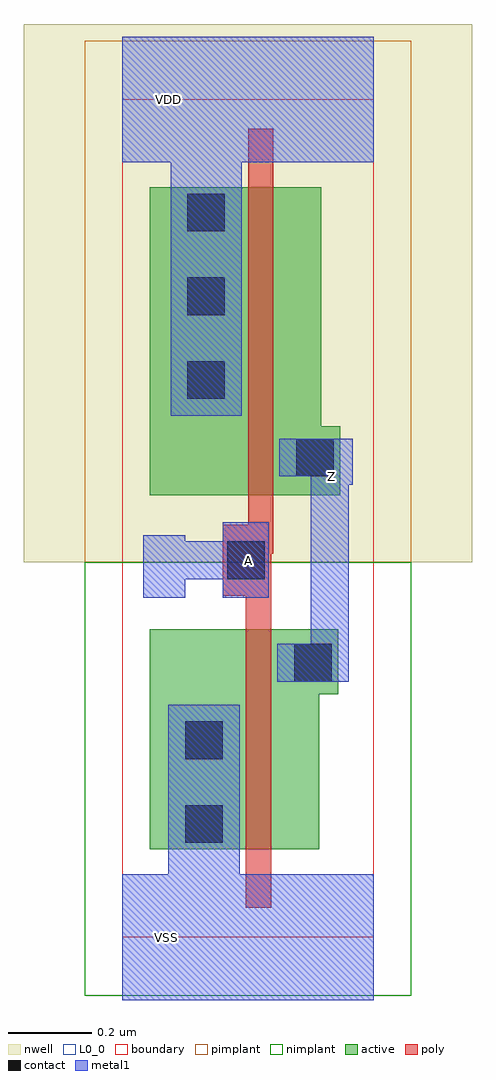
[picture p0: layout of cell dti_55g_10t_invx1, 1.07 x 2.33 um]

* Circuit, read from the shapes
.subckt dti_55g_10t_invx1 A VDD VSS Z
M1 Z A VSS VSUBS nfet w=0.525u l=0.06u
M2 Z A VDD n1 pfet w=0.735u l=0.06u
.ends

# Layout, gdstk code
from math import pi, radians
import gdstk
lib = gdstk.Library(unit=1e-6, precision=1e-09)
def R(c, l, rs):  # rectangles x0, y0, x1, y1
    for r in rs: c.add(gdstk.rectangle(r[:2], r[2:], *l))
def P(c, l, *ps):  # polygons
    for p in ps: c.add(gdstk.Polygon(p, *l))
L0_0 = (0, 0)
nwell = (3, 0)
active = (6, 0)
poly = (17, 0)
pimplant = (25, 0)
nimplant = (26, 0)
contact = (30, 0)
metal1 = (31, 0)
boundary = (108, 0)
L923_0 = (923, 0)

cnt = lib.new_cell('cnt')
R(cnt, contact, [(-0.045,-0.045,0.045,0.045)])
R(cnt, metal1, [(-0.045,-0.045,0.045,0.045)])

cnt_p = lib.new_cell('cnt_p')
R(cnt_p, active, [(-0.06,-0.075,0.06,0.075)])
cnt_p.add(gdstk.Reference(cnt, (0,0)))

cellgrid_nom2 = lib.new_cell('cellgrid_noM2')
R(cellgrid_nom2, L0_0, [(0,0,0.2,0.2)])
cellgrid_nom2.add(gdstk.FlexPath([(0.2,0),(0,0.2)], 0, ends="flush", simple_path=True, layer=0, datatype=0))  # L0_0
cellgrid_nom2.add(gdstk.FlexPath([(0.2,0.2),(0,0)], 0, ends="flush", simple_path=True, layer=0, datatype=0))  # L0_0

template_55g_10t = lib.new_cell('template_55g_10t')
R(template_55g_10t, metal1, [(0,-0.15,0.2,0.15), (0,1.85,0.2,2.15)])
template_55g_10t.add(gdstk.FlexPath([(0.2,0.21),(0,0.21)], 0, ends="flush", simple_path=True, layer=923, datatype=0))  # L923_0
template_55g_10t.add(gdstk.FlexPath([(0.2,0.735),(0,0.735)], 0, ends="flush", simple_path=True, layer=923, datatype=0))  # L923_0
template_55g_10t.add(gdstk.FlexPath([(0.2,0.895),(0,0.895)], 0, ends="flush", simple_path=True, layer=923, datatype=0))  # L923_0
template_55g_10t.add(gdstk.FlexPath([(0.2,1.055),(0,1.055)], 0, ends="flush", simple_path=True, layer=923, datatype=0))  # L923_0
template_55g_10t.add(gdstk.FlexPath([(0.2,1.79),(0,1.79)], 0, ends="flush", simple_path=True, layer=923, datatype=0))  # L923_0

nmos_525_n_2 = lib.new_cell('nmos_525_n_2')
R(nmos_525_n_2, active, [(-0.115,0,0.175,0.525)])
R(nmos_525_n_2, poly, [(0,-0.14,0.06,0.665)])
R(nmos_525_n_2, nimplant, [(-0.245,-0.16,0.305,0.685)])

pmos_735_n_2 = lib.new_cell('pmos_735_n_2')
R(pmos_735_n_2, nwell, [(-0.275,-0.16,0.335,0.895)])
R(pmos_735_n_2, active, [(-0.115,0,0.175,0.735)])
R(pmos_735_n_2, poly, [(0,-0.14,0.06,0.875)])
R(pmos_735_n_2, pimplant, [(-0.245,-0.16,0.305,0.895)])

cnt_n = lib.new_cell('cnt_n')
R(cnt_n, active, [(-0.06,-0.075,0.06,0.075)])
R(cnt_n, contact, [(-0.045,-0.045,0.045,0.045)])
R(cnt_n, metal1, [(-0.045,-0.045,0.045,0.045)])

pcnt_v = lib.new_cell('pcnt_v')
R(pcnt_v, poly, [(-0.055,-0.085,0.055,0.085)])
pcnt_v.add(gdstk.Reference(cnt, (0,0)))

dti_55g_10t_invx1 = lib.new_cell('dti_55g_10t_invx1')
R(dti_55g_10t_invx1, nwell, [(-0.235,0.895,0.835,2.18)])
R(dti_55g_10t_invx1, active, [(0.065,0.21,0.275,0.735), (0.355,0.58,0.515,0.735), (0.065,1.055,0.27,1.79), (0.355,1.055,0.52,1.22)])
R(dti_55g_10t_invx1, poly, [(0.32,0.8,0.355,0.955)])
R(dti_55g_10t_invx1, pimplant, [(-0.09,0.895,0.69,2.14)])
R(dti_55g_10t_invx1, nimplant, [(-0.09,-0.14,0.69,0.895)])
R(dti_55g_10t_invx1, metal1, [(0.11,0,0.28,0.555), (0.115,1.245,0.285,2)])
P(dti_55g_10t_invx1, metal1, [(0.37,0.61),(0.54,0.61),(0.54,1.08),(0.55,1.08),(0.55,1.19),(0.375,1.19),(0.375,1.1),(0.45,1.1),(0.45,0.7),(0.37,0.7)],
  [(0.05,0.81),(0.15,0.81),(0.15,0.855),(0.24,0.855),(0.24,0.81),(0.35,0.81),(0.35,0.99),(0.24,0.99),(0.24,0.945),(0.15,0.945),(0.15,0.96),(0.05,0.96)])
R(dti_55g_10t_invx1, boundary, [(0,0,0.6,2)])
dti_55g_10t_invx1.add(gdstk.Reference(cnt_p, (0.2,1.33), rotation=3*pi/2))
r = gdstk.Reference(cellgrid_nom2, (0,0)); r.repetition = gdstk.Repetition(3, 10, v1=(0.2,0), v2=(0,0.2)); dti_55g_10t_invx1.add(r)
r = gdstk.Reference(template_55g_10t, (0,0)); r.repetition = gdstk.Repetition(3, 1, v1=(0.2,0), v2=(0,2)); dti_55g_10t_invx1.add(r)
dti_55g_10t_invx1.add(gdstk.Reference(nmos_525_n_2, (0.295,0.21)))
dti_55g_10t_invx1.add(gdstk.Reference(pmos_735_n_2, (0.3,1.055)))
dti_55g_10t_invx1.add(gdstk.Reference(cnt_p, (0.2,1.73), rotation=3*pi/2))
dti_55g_10t_invx1.add(gdstk.Reference(cnt_p, (0.2,1.53), rotation=3*pi/2))
dti_55g_10t_invx1.add(gdstk.Reference(cnt_n, (0.195,0.47), rotation=pi/2))
dti_55g_10t_invx1.add(gdstk.Reference(cnt_n, (0.195,0.27), rotation=pi/2))
dti_55g_10t_invx1.add(gdstk.Reference(pcnt_v, (0.295,0.9), rotation=pi, x_reflection=True))
dti_55g_10t_invx1.add(gdstk.Reference(cnt_p, (0.46,1.145)))
dti_55g_10t_invx1.add(gdstk.Reference(cnt_n, (0.455,0.655)))
dti_55g_10t_invx1.add(gdstk.Label('Z', (0.5,1.1), layer=131, texttype=0))
dti_55g_10t_invx1.add(gdstk.Label('A', (0.3,0.9), layer=131, texttype=0))
dti_55g_10t_invx1.add(gdstk.Label('VSS', (0.105,0), layer=131, texttype=0))
dti_55g_10t_invx1.add(gdstk.Label('VDD', (0.11,2), layer=131, texttype=0))

lib.write_gds('dti_55g_10t_invx1.gds')
